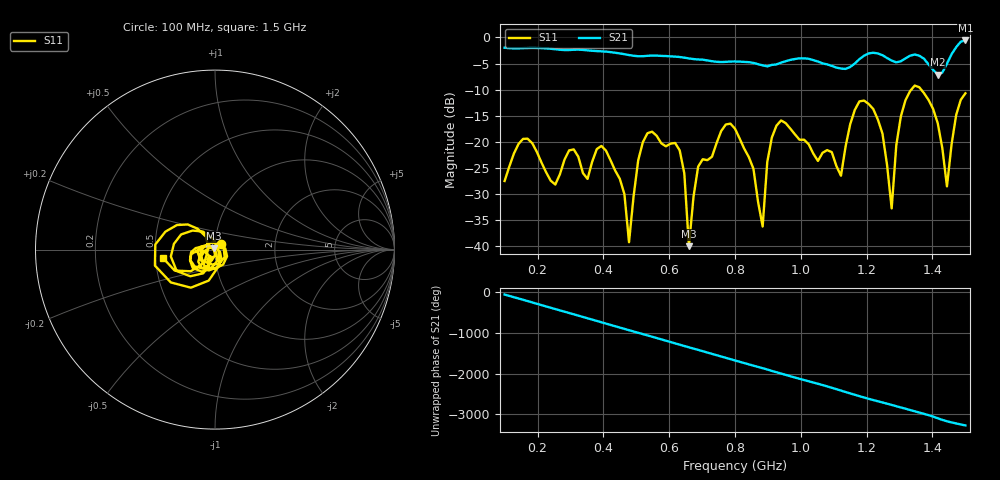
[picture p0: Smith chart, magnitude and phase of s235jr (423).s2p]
! NanoVNA-App
! Date: 2025-09-25 15:07:27
! Start: 100MHz Stop: 1,5GHz Points: 101
! S-Parameter data: F S11 S21 S12 S22
# Hz S RI R 50
!  Frequency  S11_Real  S11_Imag  S21_Real  S21_Imag  S12_Real  S12_Imag  S22_Real  S22_Imag
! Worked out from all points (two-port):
!   101 points, 100 MHz to 1.5 GHz, reference 50 ohm
!   highest |S21| = -0.58 dB at 1.5 GHz (marker M1); lowest = -7.1 dB at 1.416 GHz (marker M2)
!   |S21| within 3 dB of the highest: start of sweep to 503.3 MHz; 522.4 MHz to 594.1 MHz (71.72 MHz wide, 12.8 % of centre) (the widest 2 of 5)
!   lowest |S11| = -39.9 dB at 660 MHz (marker M3), VSWR 1.02, Z = 49.2 + j0.647 ohm
!   |S11| at or under -10 dB: start of sweep to 1.336 GHz; 1.366 GHz to end of sweep
!   S12 and S22 are empty: the file has one direction only
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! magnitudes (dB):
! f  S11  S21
! 100 MHz  -27.5  -2.0
! 156 MHz  -19.4  -2.0
! 338 MHz  -26.0  -2.4
! 408 MHz  -21.7  -2.7
! 478 MHz  -39.2  -3.4
! 520 MHz  -20.0  -3.6
! 576 MHz  -20.3  -3.5
! 632 MHz  -21.6  -3.7
! 660 MHz  -39.9  -4.0
! 688 MHz  -24.7  -4.2
! 800 MHz  -17.5  -4.6
! 884 MHz  -36.2  -5.3
! 926 MHz  -16.9  -5.2
! 1.038 GHz  -22.2  -4.3
! 1.122 GHz  -26.5  -6.0
! 1.192 GHz  -12.1  -3.5
! 1.248 GHz  -18.4  -3.4
! 1.276 GHz  -32.7  -4.4
! 1.332 GHz  -10.3  -3.5
! 1.416 GHz  -16.4  -7.1
! 1.444 GHz  -28.5  -5.0
! 1.5 GHz  -10.7  -0.6
